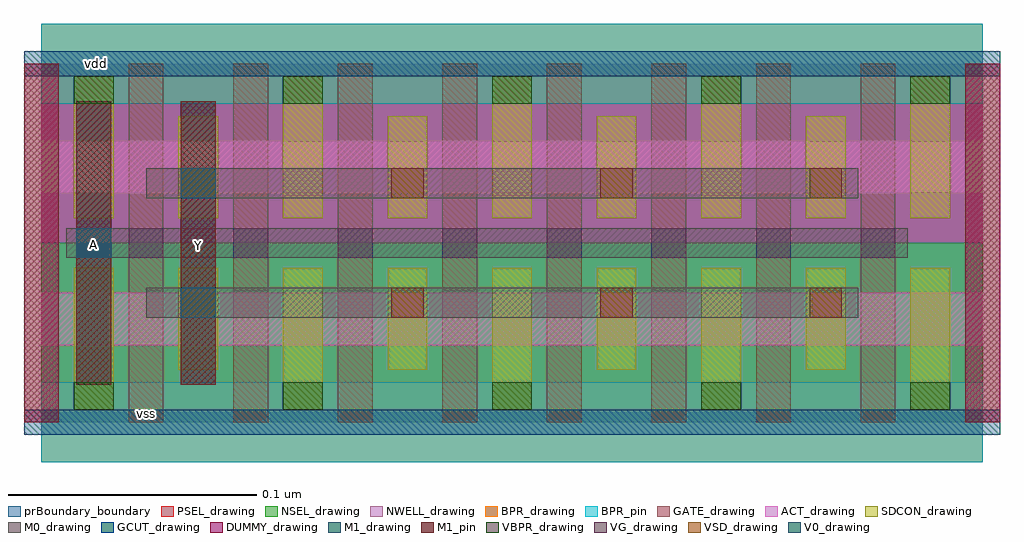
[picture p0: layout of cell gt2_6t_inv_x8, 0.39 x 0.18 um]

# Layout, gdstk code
import gdstk
lib = gdstk.Library(unit=1e-6, precision=5e-10)
def R(c, l, rs):  # rectangles x0, y0, x1, y1
    for r in rs: c.add(gdstk.rectangle(r[:2], r[2:], *l))
def A(c, l, x, y, w, h, nx, ny, dx, dy):  # array of equal rectangles
    R(c, l, [(x+i*dx, y+j*dy, x+i*dx+w, y+j*dy+h) for i in range(nx) for j in range(ny)])
NWELL_drawing = (1, 0)
ACT_drawing = (2, 0)
GATE_drawing = (3, 0)
DUMMY_drawing = (4, 0)
GCUT_drawing = (5, 0)
NSEL_drawing = (6, 0)
PSEL_drawing = (7, 0)
BPR_drawing = (8, 0)
BPR_pin = (8, 251)
VBPR_drawing = (9, 0)
SDCON_drawing = (10, 0)
VSD_drawing = (11, 0)
VG_drawing = (12, 0)
M0_drawing = (20, 0)
V0_drawing = (22, 0)
M1_drawing = (25, 0)
M1_pin = (25, 251)
prBoundary_boundary = (235, 250)

gt2_6t_inv_x8 = lib.new_cell('gt2_6t_inv_x8')
R(gt2_6t_inv_x8, NWELL_drawing, [(0,0.072,0.378,0.144)])
R(gt2_6t_inv_x8, ACT_drawing, [(0,0.031,0.378,0.052), (0,0.092,0.378,0.113)])
A(gt2_6t_inv_x8, GATE_drawing, -0.007, 0, 0.014, 0.144, 10, 1, 0.042, 0)
R(gt2_6t_inv_x8, DUMMY_drawing, [(-0.007,0,0.007,0.144), (0.371,0,0.385,0.144)])
R(gt2_6t_inv_x8, GCUT_drawing, [(-0.007,-0.005,0.385,0.005), (-0.007,0.139,0.385,0.149)])
R(gt2_6t_inv_x8, NSEL_drawing, [(0,0,0.378,0.072)])
R(gt2_6t_inv_x8, PSEL_drawing, [(0,0.072,0.378,0.144)])
R(gt2_6t_inv_x8, BPR_drawing, [(0,-0.016,0.378,0.016), (0,0.128,0.378,0.16)])
R(gt2_6t_inv_x8, BPR_pin, [(0,-0.016,0.378,0.016), (0,0.128,0.378,0.16)])
A(gt2_6t_inv_x8, VBPR_drawing, 0.013, 0.005, 0.016, 0.011, 5, 2, 0.084, 0.123)
A(gt2_6t_inv_x8, SDCON_drawing, 0.013, 0.005, 0.016, 0.057, 5, 2, 0.084, 0.077)
A(gt2_6t_inv_x8, SDCON_drawing, 0.055, 0.021, 0.016, 0.041, 4, 2, 0.084, 0.061)
A(gt2_6t_inv_x8, VSD_drawing, 0.0565, 0.042, 0.013, 0.012, 4, 2, 0.084, 0.048)
A(gt2_6t_inv_x8, VG_drawing, 0.035, 0.066, 0.014, 0.012, 8, 1, 0.042, 0)
R(gt2_6t_inv_x8, M0_drawing, [(0.042,0.042,0.328,0.054), (0.01,0.066,0.348,0.078), (0.042,0.09,0.328,0.102)])
R(gt2_6t_inv_x8, V0_drawing, [(0.056,0.042,0.07,0.054), (0.014,0.066,0.028,0.078), (0.056,0.09,0.07,0.102)])
R(gt2_6t_inv_x8, M1_drawing, [(0.014,0.015,0.028,0.129), (0.056,0.015,0.07,0.129)])
R(gt2_6t_inv_x8, M1_pin, [(0.014,0.015,0.028,0.129), (0.056,0.015,0.07,0.129)])
R(gt2_6t_inv_x8, prBoundary_boundary, [(0,0,0.378,0.144)])
gt2_6t_inv_x8.add(gdstk.Label('vss', (0.042,0.0035), layer=8, texttype=251))
gt2_6t_inv_x8.add(gdstk.Label('vdd', (0.022,0.144), layer=8, texttype=251))
gt2_6t_inv_x8.add(gdstk.Label('Y', (0.063,0.071), layer=25, texttype=251))
gt2_6t_inv_x8.add(gdstk.Label('A', (0.021,0.0715), layer=25, texttype=251))

lib.write_gds('gt2_6t_inv_x8.gds')
